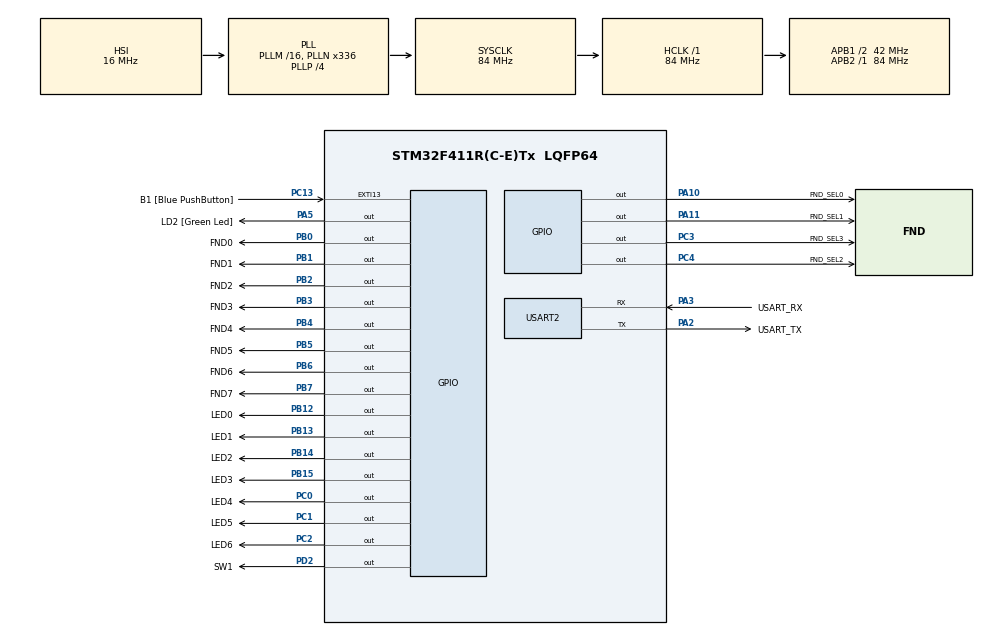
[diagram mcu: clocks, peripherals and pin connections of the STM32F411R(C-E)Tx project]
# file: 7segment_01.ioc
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Mcu.Family=STM32F4
Mcu.Name=STM32F411R(C-E)Tx
Mcu.Package=LQFP64
NVIC.PriorityGroup=NVIC_PRIORITYGROUP_0
PA10.GPIO_Label=FND_SEL0
PA10.Signal=GPIO_Output
PA11.GPIO_Label=FND_SEL1
PA11.Signal=GPIO_Output
PA13.GPIO_Label=TMS
PA13.Mode=Serial_Wire
PA13.Signal=SYS_JTMS-SWDIO
PA14.GPIO_Label=TCK
PA14.Mode=Serial_Wire
PA14.Signal=SYS_JTCK-SWCLK
PA2.GPIO_Label=USART_TX
PA2.Mode=Asynchronous
PA2.Signal=USART2_TX
PA3.GPIO_Label=USART_RX
PA3.Mode=Asynchronous
PA3.Signal=USART2_RX
PA5.GPIO_Label=LD2 [Green Led]
PA5.Signal=GPIO_Output
PB0.GPIO_Label=FND0
PB0.Signal=GPIO_Output
PB1.GPIO_Label=FND1
PB1.Signal=GPIO_Output
PB12.GPIO_Label=LED0
PB12.Signal=GPIO_Output
PB13.GPIO_Label=LED1
PB13.Signal=GPIO_Output
PB14.GPIO_Label=LED2
PB14.Signal=GPIO_Output
PB15.GPIO_Label=LED3
PB15.Signal=GPIO_Output
PB2.GPIO_Label=FND2
PB2.Signal=GPIO_Output
PB3.GPIO_Label=FND3
PB3.Signal=GPIO_Output
PB4.GPIO_Label=FND4
PB4.Signal=GPIO_Output
PB5.GPIO_Label=FND5
PB5.Signal=GPIO_Output
PB6.GPIO_Label=FND6
PB6.Signal=GPIO_Output
PB7.GPIO_Label=FND7
PB7.Signal=GPIO_Output
PC0.GPIO_Label=LED4
PC0.Signal=GPIO_Output
PC1.GPIO_Label=LED5
PC1.Signal=GPIO_Output
PC13-ANTI_TAMP.GPIO_Label=B1 [Blue PushButton]
PC13-ANTI_TAMP.GPIO_ModeDefaultEXTI=GPIO_MODE_IT_FALLING
PC13-ANTI_TAMP.Signal=GPXTI13
PC14-OSC32_IN.Mode=LSE-External-Oscillator
PC14-OSC32_IN.Signal=RCC_OSC32_IN
PC15-OSC32_OUT.Mode=LSE-External-Oscillator
PC15-OSC32_OUT.Signal=RCC_OSC32_OUT
PC2.GPIO_Label=LED6
PC2.Signal=GPIO_Output
PC3.GPIO_Label=FND_SEL3
PC3.Signal=GPIO_Output
PC4.GPIO_Label=FND_SEL2
PC4.Signal=GPIO_Output
PD2.GPIO_Label=SW1
PD2.Signal=GPIO_Output
PH0\ -\ OSC_IN.Mode=HSE-External-Clock-Source
PH0\ -\ OSC_IN.Signal=RCC_OSC_IN
PH1\ -\ OSC_OUT.Mode=HSE-External-Clock-Source
PH1\ -\ OSC_OUT.Signal=RCC_OSC_OUT
ProjectManager.HeapSize=0x200
ProjectManager.StackSize=0x400
ProjectManager.TargetToolchain=STM32CubeIDE
RCC.48MHZClocksFreq_Value=84000000
RCC.AHBFreq_Value=84000000
RCC.APB1CLKDivider=RCC_HCLK_DIV2
RCC.APB1Freq_Value=42000000
RCC.APB1TimFreq_Value=84000000
RCC.APB2Freq_Value=84000000
RCC.APB2TimFreq_Value=84000000
RCC.CortexFreq_Value=84000000
RCC.FLatency-AdvancedSettings=FLASH_LATENCY_2
RCC.HCLKFreq_Value=84000000
RCC.HSE_VALUE=8000000
RCC.HSI_VALUE=16000000
RCC.PLLN=336
RCC.PLLP=RCC_PLLP_DIV4
RCC.SYSCLKFreq_VALUE=84000000
RCC.SYSCLKSource=RCC_SYSCLKSOURCE_PLLCLK
RCC.VCOOutputFreq_Value=336000000
USART2.VirtualMode=VM_ASYNC
board=NUCLEO-F411RE

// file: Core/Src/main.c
/* USER CODE BEGIN Header */
/**
  ******************************************************************************
  * @file           : main.c
  * @brief          : Main program body
  ******************************************************************************
  * @attention
  *
  * Copyright (c) 2023 STMicroelectronics.
  * All rights reserved.
  *
  * This software is licensed under terms that can be found in the LICENSE file
  * in the root directory of this software component.
  * If no LICENSE file comes with this software, it is provided AS-IS.
  *
  ******************************************************************************
  */
/* USER CODE END Header */
#include "main.h"

UART_HandleTypeDef huart2;

/* USER CODE BEGIN PV */
uint32_t data[10] = {
    0xFC, // 0
    0x60, // 1
    0xDA, // 2
    0xF2, // 3
    0x66, // 4
    0xB6, // 5
    0xBE, // 6
    0xE4, // 7
    0xFE, // 8
    0xF6  // 9
};

/* USER CODE END PV */

void SystemClock_Config(void);
static void MX_GPIO_Init(void);
static void MX_USART2_UART_Init(void);

/* USER CODE BEGIN 0 */

void Seg_Number( uint16_t val, uint8_t dp){

	uint16_t _bits;

	_bits = FND0_Pin|FND1_Pin|FND2_Pin|FND3_Pin|FND4_Pin|FND5_Pin;  // "0"

	// Clear All segment port bits...

	HAL_GPIO_WritePin(GPIOB, FND0_Pin|FND1_Pin|FND2_Pin|FND3_Pin

				  |FND4_Pin|FND5_Pin|FND6_Pin|FND7_Pin, GPIO_PIN_RESET);

	switch(val%10){

		case 1:

			_bits = FND1_Pin|FND2_Pin;

			break;

		case 2:

			_bits = FND0_Pin|FND1_Pin|FND3_Pin|FND4_Pin|FND6_Pin;

			break;

		case 3:

			_bits = FND0_Pin|FND1_Pin|FND2_Pin|FND3_Pin|FND6_Pin;

			break;

		case 4:

			_bits = FND1_Pin|FND2_Pin|FND5_Pin|FND6_Pin;

			break;

		case 5:

			_bits = FND0_Pin|FND2_Pin|FND3_Pin|FND5_Pin|FND6_Pin;

			break;

		case 6:

			_bits = FND2_Pin|FND3_Pin|FND4_Pin|FND5_Pin|FND6_Pin;

			break;

		case 7:

			_bits = FND0_Pin|FND1_Pin|FND2_Pin;

			break;

		case 8:

			_bits = FND0_Pin|FND1_Pin|FND2_Pin|FND3_Pin|FND4_Pin|FND5_Pin|FND6_Pin;

			break;

		case 9:

			_bits = FND0_Pin|FND1_Pin|FND2_Pin|FND5_Pin|FND6_Pin;

			break;

	}

	if(dp)

		_bits |= FND7_Pin;

	HAL_GPIO_WritePin(GPIOB, _bits, GPIO_PIN_SET);

}

/* USER CODE END 0 */

int main(void)
{

  /* MCU Configuration--------------------------------------------------------*/

  /* Reset of all peripherals, Initializes the Flash interface and the Systick. */
  HAL_Init();

  /* Configure the system clock */
  SystemClock_Config();

  /* Initialize all configured peripherals */
  MX_GPIO_Init();
  MX_USART2_UART_Init();

  /* Infinite loop */
  /* USER CODE BEGIN WHILE */

  int _digit = 0;
  int data[] = {0, 1, 2, 3, 4, 5, 6, 7, 8, 9};
  int _digits[4] = {0};

  while (1)
  {

	  //	  Seg_Reset();

	  //	  HAL_GPIO_WritePin(GPIOA, FND_SEL0_Pin, GPIO_PIN_SET);

	  //	  HAL_GPIO_WritePin(GPIOB, FND0_Pin|FND1_Pin|FND2_Pin|FND3_Pin|FND4_Pin|FND5_Pin,GPIO_PIN_SET);  // 0

	  	  HAL_GPIO_WritePin(GPIOA, FND_SEL0_Pin, GPIO_PIN_SET);

	  //	  Seg_Number(8);

	  	  int _digit;

	  	  if( _digit == 0)

	  		  Seg_Number(data[0],1);

	  	  else

	  		  Seg_Number(data[0],0);

	  	  HAL_Delay(500);

	  	  HAL_GPIO_WritePin(GPIOA, FND_SEL0_Pin, GPIO_PIN_RESET);

	  //	  Seg_Reset();

	  	  HAL_GPIO_WritePin(GPIOA, FND_SEL1_Pin, GPIO_PIN_SET);

	  //	  HAL_GPIO_WritePin(GPIOB, FND1_Pin|FND2_Pin,GPIO_PIN_SET);  // 1

	  //	  Seg_Number(9);

	  	  if( _digit == 1)

	  		  Seg_Number(data[1],1);

	  	  else

	  	  	  Seg_Number(data[1],0);

	  	  HAL_Delay(500);

	  	  HAL_GPIO_WritePin(GPIOA, FND_SEL1_Pin, GPIO_PIN_RESET);

	  //	  Seg_Reset();

	  	  HAL_GPIO_WritePin(GPIOC, FND_SEL2_Pin, GPIO_PIN_SET);

	  //	  HAL_GPIO_WritePin(GPIOB, FND0_Pin|FND1_Pin|FND3_Pin|FND4_Pin|FND6_Pin,GPIO_PIN_SET);  // 2

	  //	  Seg_Number(0);

	  	  if( _digit == 2)

	  		  Seg_Number(data[2],1);

	  	  else

	  	  	  Seg_Number(data[2],0);

	  	  HAL_Delay(500);

	  	  HAL_GPIO_WritePin(GPIOC, FND_SEL2_Pin, GPIO_PIN_RESET);

	  //	  Seg_Reset();

	  	  HAL_GPIO_WritePin(GPIOC, FND_SEL3_Pin, GPIO_PIN_SET);

	  //	  HAL_GPIO_WritePin(GPIOB, FND0_Pin|FND1_Pin|FND2_Pin|FND3_Pin|FND6_Pin,GPIO_PIN_SET);  // 3

	  //	  Seg_Number(7);

	  	  if( _digit == 3)

	  		  Seg_Number(data[3],1);

	  	  else

	  	  	  Seg_Number(data[3],0);

	    	  HAL_Delay(500);

	    	  HAL_GPIO_WritePin(GPIOC, FND_SEL3_Pin, GPIO_PIN_RESET);

	    	  _digit++;
	    	          if (_digit >= 4) {
	    	              _digit = 0;
	    	          }

	  //  	  HAL_GPIO_WritePin(GPIOB, FND0_Pin|FND1_Pin|FND2_Pin|FND3_Pin

	  //  			  |FND4_Pin|FND5_Pin|FND6_Pin|FND7_Pin, GPIO_PIN_RESET);

	  //  	  HAL_GPIO_WritePin(GPIOB, FND0_Pin|FND1_Pin|FND2_Pin|FND3_Pin

	  //  			  |FND4_Pin|FND5_Pin|FND6_Pin|FND7_Pin, GPIO_PIN_RESET);
    /* USER CODE END WHILE */

  }
}

void SystemClock_Config(void)
{
  RCC_OscInitTypeDef RCC_OscInitStruct = {0};
  RCC_ClkInitTypeDef RCC_ClkInitStruct = {0};

  /** Configure the main internal regulator output voltage
  */
  __HAL_RCC_PWR_CLK_ENABLE();
  __HAL_PWR_VOLTAGESCALING_CONFIG(PWR_REGULATOR_VOLTAGE_SCALE1);

  /** Initializes the RCC Oscillators according to the specified parameters
  * in the RCC_OscInitTypeDef structure.
  */
  RCC_OscInitStruct.OscillatorType = RCC_OSCILLATORTYPE_HSI;
  RCC_OscInitStruct.HSIState = RCC_HSI_ON;
  RCC_OscInitStruct.HSICalibrationValue = RCC_HSICALIBRATION_DEFAULT;
  RCC_OscInitStruct.PLL.PLLState = RCC_PLL_ON;
  RCC_OscInitStruct.PLL.PLLSource = RCC_PLLSOURCE_HSI;
  RCC_OscInitStruct.PLL.PLLM = 16;
  RCC_OscInitStruct.PLL.PLLN = 336;
  RCC_OscInitStruct.PLL.PLLP = RCC_PLLP_DIV4;
  RCC_OscInitStruct.PLL.PLLQ = 4;
  if (HAL_RCC_OscConfig(&RCC_OscInitStruct) != HAL_OK)
  {
    Error_Handler();
  }

  /** Initializes the CPU, AHB and APB buses clocks
  */
  RCC_ClkInitStruct.ClockType = RCC_CLOCKTYPE_HCLK|RCC_CLOCKTYPE_SYSCLK
                              |RCC_CLOCKTYPE_PCLK1|RCC_CLOCKTYPE_PCLK2;
  RCC_ClkInitStruct.SYSCLKSource = RCC_SYSCLKSOURCE_PLLCLK;
  RCC_ClkInitStruct.AHBCLKDivider = RCC_SYSCLK_DIV1;
  RCC_ClkInitStruct.APB1CLKDivider = RCC_HCLK_DIV2;
  RCC_ClkInitStruct.APB2CLKDivider = RCC_HCLK_DIV1;

  if (HAL_RCC_ClockConfig(&RCC_ClkInitStruct, FLASH_LATENCY_2) != HAL_OK)
  {
    Error_Handler();
  }
}

static void MX_USART2_UART_Init(void)
{

  huart2.Instance = USART2;
  huart2.Init.BaudRate = 115200;
  huart2.Init.WordLength = UART_WORDLENGTH_8B;
  huart2.Init.StopBits = UART_STOPBITS_1;
  huart2.Init.Parity = UART_PARITY_NONE;
  huart2.Init.Mode = UART_MODE_TX_RX;
  huart2.Init.HwFlowCtl = UART_HWCONTROL_NONE;
  huart2.Init.OverSampling = UART_OVERSAMPLING_16;
  if (HAL_UART_Init(&huart2) != HAL_OK)
  {
    Error_Handler();
  }

}

static void MX_GPIO_Init(void)
{
  GPIO_InitTypeDef GPIO_InitStruct = {0};

  /* GPIO Ports Clock Enable */
  __HAL_RCC_GPIOC_CLK_ENABLE();
  __HAL_RCC_GPIOH_CLK_ENABLE();
  __HAL_RCC_GPIOA_CLK_ENABLE();
  __HAL_RCC_GPIOB_CLK_ENABLE();
  __HAL_RCC_GPIOD_CLK_ENABLE();

  /*Configure GPIO pin Output Level */
  HAL_GPIO_WritePin(GPIOC, LED4_Pin|LED5_Pin|LED6_Pin|FND_SEL3_Pin
                          |FND_SEL2_Pin, GPIO_PIN_RESET);

  /*Configure GPIO pin Output Level */
  HAL_GPIO_WritePin(GPIOA, LD2_Pin|FND_SEL0_Pin|FND_SEL1_Pin, GPIO_PIN_RESET);

  /*Configure GPIO pin Output Level */
  HAL_GPIO_WritePin(GPIOB, FND0_Pin|FND1_Pin|FND2_Pin|LED0_Pin
                          |LED1_Pin|LED2_Pin|LED3_Pin|FND3_Pin
                          |FND4_Pin|FND5_Pin|FND6_Pin|FND7_Pin, GPIO_PIN_RESET);

  /*Configure GPIO pin Output Level */
  HAL_GPIO_WritePin(SW1_GPIO_Port, SW1_Pin, GPIO_PIN_RESET);

  /*Configure GPIO pin : B1_Pin */
  GPIO_InitStruct.Pin = B1_Pin;
  GPIO_InitStruct.Mode = GPIO_MODE_IT_FALLING;
  GPIO_InitStruct.Pull = GPIO_NOPULL;
  HAL_GPIO_Init(B1_GPIO_Port, &GPIO_InitStruct);

  /*Configure GPIO pins : LED4_Pin LED5_Pin LED6_Pin FND_SEL3_Pin
                           FND_SEL2_Pin */
  GPIO_InitStruct.Pin = LED4_Pin|LED5_Pin|LED6_Pin|FND_SEL3_Pin
                          |FND_SEL2_Pin;
  GPIO_InitStruct.Mode = GPIO_MODE_OUTPUT_PP;
  GPIO_InitStruct.Pull = GPIO_NOPULL;
  GPIO_InitStruct.Speed = GPIO_SPEED_FREQ_LOW;
  HAL_GPIO_Init(GPIOC, &GPIO_InitStruct);

  /*Configure GPIO pins : LD2_Pin FND_SEL0_Pin FND_SEL1_Pin */
  GPIO_InitStruct.Pin = LD2_Pin|FND_SEL0_Pin|FND_SEL1_Pin;
  GPIO_InitStruct.Mode = GPIO_MODE_OUTPUT_PP;
  GPIO_InitStruct.Pull = GPIO_NOPULL;
  GPIO_InitStruct.Speed = GPIO_SPEED_FREQ_LOW;
  HAL_GPIO_Init(GPIOA, &GPIO_InitStruct);

  /*Configure GPIO pins : FND0_Pin FND1_Pin FND2_Pin LED0_Pin
                           LED1_Pin LED2_Pin LED3_Pin FND3_Pin
                           FND4_Pin FND5_Pin FND6_Pin FND7_Pin */
  GPIO_InitStruct.Pin = FND0_Pin|FND1_Pin|FND2_Pin|LED0_Pin
                          |LED1_Pin|LED2_Pin|LED3_Pin|FND3_Pin
                          |FND4_Pin|FND5_Pin|FND6_Pin|FND7_Pin;
  GPIO_InitStruct.Mode = GPIO_MODE_OUTPUT_PP;
  GPIO_InitStruct.Pull = GPIO_NOPULL;
  GPIO_InitStruct.Speed = GPIO_SPEED_FREQ_LOW;
  HAL_GPIO_Init(GPIOB, &GPIO_InitStruct);

  /*Configure GPIO pin : SW1_Pin */
  GPIO_InitStruct.Pin = SW1_Pin;
  GPIO_InitStruct.Mode = GPIO_MODE_OUTPUT_PP;
  GPIO_InitStruct.Pull = GPIO_NOPULL;
  GPIO_InitStruct.Speed = GPIO_SPEED_FREQ_LOW;
  HAL_GPIO_Init(SW1_GPIO_Port, &GPIO_InitStruct);

}

void Error_Handler(void)
{
  __disable_irq();
  while (1)
  {
  }
}
